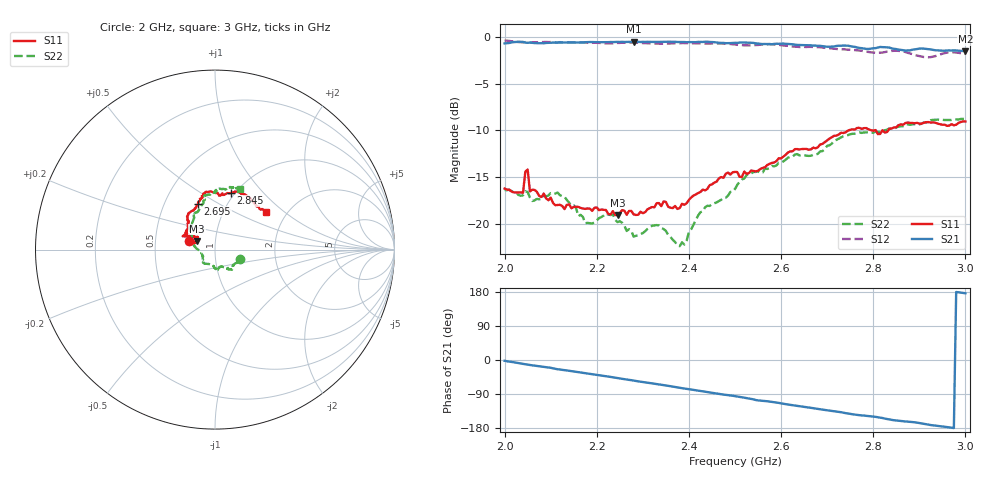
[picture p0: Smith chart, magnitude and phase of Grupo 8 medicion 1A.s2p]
# Hz S DB R 50
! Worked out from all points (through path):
!   201 points, 2 GHz to 3 GHz, reference 50 ohm
!   highest |S21| = -0.51 dB at 2.28 GHz (marker M1); lowest = -1.5 dB at 3 GHz (marker M2)
!   group delay of S21, straight-line fit = 509 ps
!   lowest |S11| = -19.1 dB at 2.245 GHz (marker M3), VSWR 1.25, Z = 40.7 + j3.98 ohm
!   |S11| at or under -10 dB: start of sweep to 2.747 GHz; 2.805 GHz to 2.82 GHz (14.67 MHz wide, 0.521 % of centre); 2.820092 GHz to 2.832681 GHz (12.59 MHz wide, 0.445 % of centre)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
!   |S22| runs from -22.4 to -8.8 dB; largest |S21 - S12| = 0.09
!   S11 on the Smith chart (normalised r, x): 2 GHz: 0.74, +0.07; 2.695 GHz: 0.73, +0.41; 2.845 GHz: 0.96, +0.68; 3 GHz: 1.56, +0.76
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2e9  -16.24 162.2  -0.70 -2.1  -0.38 -2.2  -16.40 -20.9
2.04e9  -16.69 153.0  -0.54 -10.2  -0.59 -10.2  -16.96 -27.4
2.045e9  -14.41 154.4  -0.61 -11.1  -0.56 -11.0  -16.53 -34.9
2.05e9  -14.20 157.5  -0.63 -12.2  -0.59 -11.8  -16.62 -36.9
2.055e9  -16.54 151.7  -0.60 -13.3  -0.61 -12.5  -17.20 -32.8
2.115e9  -18.00 146.1  -0.61 -24.4  -0.59 -24.5  -16.67 -50.2
2.17e9  -18.37 143.7  -0.58 -33.7  -0.61 -33.9  -19.29 -64.0
2.245e9  -19.08 154.3  -0.54 -47.5  -0.64 -47.3  -19.83 -91.7
2.28e9  -19.00 157.9  -0.51 -54.3  -0.60 -54.0  -21.39 -105.8
2.335e9  -17.79 160.6  -0.54 -64.5  -0.72 -64.4  -20.20 -133.8
2.39e9  -17.98 163.0  -0.55 -75.3  -0.66 -74.5  -22.23 -165.4
2.425e9  -16.60 151.8  -0.53 -81.7  -0.70 -81.4  -18.78 170.6
2.5e9  -14.45 147.9  -0.63 -95.3  -0.80 -95.9  -16.28 148.5
2.53e9  -14.59 148.9  -0.62 -101.7  -0.90 -100.4  -14.60 138.9
2.67e9  -11.85 116.1  -0.93 -127.2  -1.08 -127.0  -12.61 113.5
2.695e9  -11.27 110.1  -1.03 -131.8  -1.17 -132.3  -12.03 108.9
2.765e9  -9.75 99.5  -1.13 -144.8  -1.43 -144.6  -10.28 101.4
2.835e9  -9.83 77.7  -1.15 -156.8  -1.57 -154.4  -9.80 90.4
2.845e9  -9.70 74.2  -1.27 -159.0  -1.48 -156.6  -9.86 88.9
2.915e9  -9.13 62.3  -1.29 -169.5  -2.17 -168.2  -9.17 76.8
2.95e9  -9.41 50.0  -1.47 -175.4  -1.80 -171.4  -8.88 73.6
3e9  -9.05 37.0  -1.52 176.1  -1.82 178.1  -8.77 67.8
